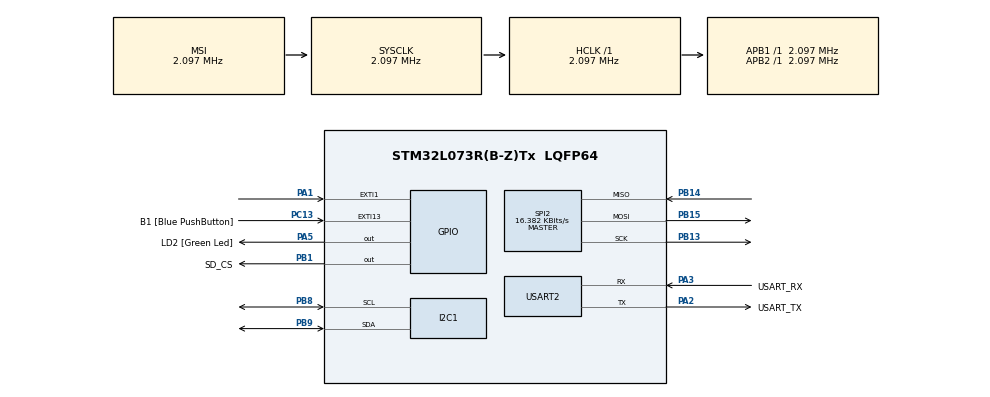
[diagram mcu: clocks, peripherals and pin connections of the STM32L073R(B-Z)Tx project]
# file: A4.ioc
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I2C1.Timing=0x00000608
Mcu.Family=STM32L0
Mcu.Name=STM32L073R(B-Z)Tx
Mcu.Package=LQFP64
NVIC.EXTI0_1_IRQn=true\:0\:0\:false\:false\:true\:true\:true\:true
PA1.GPIO_ModeDefaultEXTI=GPIO_MODE_IT_FALLING
PA1.Signal=GPXTI1
PA13.GPIO_Label=TMS
PA13.Mode=Serial_Wire
PA13.Signal=SYS_SWDIO
PA14.GPIO_Label=TCK
PA14.Mode=Serial_Wire
PA14.Signal=SYS_SWCLK
PA2.GPIO_Label=USART_TX
PA2.Mode=Asynchronous
PA2.Signal=USART2_TX
PA3.GPIO_Label=USART_RX
PA3.Mode=Asynchronous
PA3.Signal=USART2_RX
PA5.GPIO_Label=LD2 [Green Led]
PA5.Signal=GPIO_Output
PB1.GPIO_Label=SD_CS
PB1.Signal=GPIO_Output
PB13.Mode=Full_Duplex_Master
PB13.Signal=SPI2_SCK
PB14.Mode=Full_Duplex_Master
PB14.Signal=SPI2_MISO
PB15.Mode=Full_Duplex_Master
PB15.Signal=SPI2_MOSI
PB8.Mode=I2C
PB8.Signal=I2C1_SCL
PB9.Mode=I2C
PB9.Signal=I2C1_SDA
PC13.GPIO_Label=B1 [Blue PushButton]
PC13.GPIO_ModeDefaultEXTI=GPIO_MODE_IT_FALLING
PC13.Signal=GPXTI13
PC14-OSC32_IN.Mode=LSE-External-Oscillator
PC14-OSC32_IN.Signal=RCC_OSC32_IN
PC15-OSC32_OUT.Mode=LSE-External-Oscillator
PC15-OSC32_OUT.Signal=RCC_OSC32_OUT
PH0-OSC_IN.GPIO_Label=MCO
PH0-OSC_IN.Mode=HSE-External-Clock-Source
PH0-OSC_IN.Signal=RCC_OSC_IN
ProjectManager.HeapSize=0x200
ProjectManager.StackSize=0x400
ProjectManager.TargetToolchain=STM32CubeIDE
RCC.AHBFreq_Value=2097000
RCC.APB1Freq_Value=2097000
RCC.APB1TimFreq_Value=2097000
RCC.APB2Freq_Value=2097000
RCC.APB2TimFreq_Value=2097000
RCC.HSE_VALUE=8000000
RCC.HSI16_VALUE=16000000
RCC.HSI48_VALUE=48000000
RCC.HSI_VALUE=16000000
RCC.MSI_VALUE=2097000
RCC.SYSCLKFreq_VALUE=2097000
RCC.VCOOutputFreq_Value=48000000
SPI2.BaudRatePrescaler=SPI_BAUDRATEPRESCALER_128
SPI2.CalculateBaudRate=16.382 KBits/s
SPI2.Direction=SPI_DIRECTION_2LINES
SPI2.Mode=SPI_MODE_MASTER
SPI2.VirtualType=VM_MASTER
USART2.VirtualMode-Asynchronous=VM_ASYNC
VP_FATFS_VS_Generic.Mode=User_defined
board=NUCLEO-L073RZ

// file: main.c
/* USER CODE BEGIN Header */
/**
  ******************************************************************************
  * @file           : main.c
  * @brief          : Main program body
  ******************************************************************************
  * @attention
  *
  * Copyright (c) 2024 STMicroelectronics.
  * All rights reserved.
  *
  * This software is licensed under terms that can be found in the LICENSE file
  * in the root directory of this software component.
  * If no LICENSE file comes with this software, it is provided AS-IS.
  *
  ******************************************************************************
  */
/* USER CODE END Header */
#include "main.h"
#include "fatfs.h"

/* USER CODE BEGIN Includes */
#include <stdio.h>
#include <string.h>
#include <stdarg.h> //for va_list var arg functions
#include <stdbool.h>
#include "filter.h"
#include "new_funcs.h"
/* USER CODE END Includes */

/* USER CODE BEGIN PD */
const float rThreshold = 0.7;

const float kLowPassCutoff = 5.0;   // 5 hz
const float kHighPassCutoff = 0.5;  // 0.5 hz
const float kSamplingFrequency = 400.0;
const float kEdgeThreshold = -2000.0;

const unsigned long kFingerThreshold = 10000;
const unsigned int kFingerCooldownMs = 500;

const float decayRate = 0.02;
const float thrRate = 0.05;
const int minDiff = 50;
const uint32_t fingerThreshold = 10000;  // threshold for detecting a finger on the sensor

float maxValue = 0;
float minValue = 0;
float threshold = 0;
long lastHeartbeat = 0;
float lastValue = 0;
int fingerDetected = 0;  // variable to track whether the finger is detected

float last_diff = NAN;
bool crossed = false;
long crossed_time = 0;
/* variables */
LowPassFilter low_pass_filter_red;
LowPassFilter low_pass_filter_ir;
HighPassFilter high_pass_filter;
LowPassFilter low_pass_filter;
Differentiator differentiator;
MovingAverageFilter moving_avg_filter;
MovingAverageFilter moving_avg_bpm;
MovingAverageFilter moving_avg_spo2;
/* statistic Variables */
MinMaxAvgStatistic stat_red;
MinMaxAvgStatistic stat_ir;

/* finger Detection */
long finger_timestamp = 0;
bool finger_detected = false;

/* mode */
#define	TEMPERATURE 1
#define HEARTRATE_SPO2 2

/* USER CODE END PD */

I2C_HandleTypeDef hi2c1;

SPI_HandleTypeDef hspi2;

UART_HandleTypeDef huart2;

/* USER CODE BEGIN PV */
// interrupt callback for PA1 external interrupt
void HAL_GPIO_EXTI_Callback(uint16_t GPIO_Pin) {
    if (GPIO_Pin == GPIO_PIN_1) {  // check if PA1 triggered the interrupt
    	// Debug message to check if interrupt is being triggered
    	__HAL_GPIO_EXTI_CLEAR_FLAG(GPIO_PIN_1);

    	        char debugMsg[] = "Interrupt Triggered!\r\n";
    	        HAL_UART_Transmit(&huart2, (uint8_t*)debugMsg, strlen(debugMsg), HAL_MAX_DELAY);

        uint8_t intStatus = 0;
        HAL_I2C_Mem_Read(&hi2c1, MAX30102_ADDRESS << 1, MAX30105_INTSTAT2, I2C_MEMADD_SIZE_8BIT, &intStatus, 1, HAL_MAX_DELAY);

        if (intStatus & MAX30105_INT_DIE_TEMP_RDY_ENABLE) {  // if temperature ready
            float temperature = MAX30102_ReadTemperature(&hi2c1);  // read temperature
            char uartBuf[100];
            sprintf(uartBuf, "Temperature: %.2f°C\r\n", temperature);
            HAL_UART_Transmit(&huart2, (uint8_t*)uartBuf, strlen(uartBuf), HAL_MAX_DELAY);
        }

    }
}
/* USER CODE END PV */

void SystemClock_Config(void);
static void MX_GPIO_Init(void);
static void MX_USART2_UART_Init(void);
static void MX_SPI2_Init(void);
static void MX_I2C1_Init(void);
/* USER CODE BEGIN PFP */
void myprintf(const char *fmt, ...);
/* USER CODE END PFP */

/* USER CODE BEGIN 0 */
void myprintf(const char *fmt, ...) {
  static char buffer[256];
  va_list args;
  va_start(args, fmt);
  vsnprintf(buffer, sizeof(buffer), fmt, args);
  va_end(args);

  int len = strlen(buffer);
  HAL_UART_Transmit(&huart2, (uint8_t*)buffer, len, -1);

}

// measurement functions
void measure_temperature(char* uartBuf) {
	// Measuring Temperature through interrupts
	  sprintf(uartBuf, "Waiting for Temperature.......\r\n");
	  HAL_UART_Transmit(&huart2, (uint8_t*)uartBuf, strlen(uartBuf), HAL_MAX_DELAY);

	 MAX30102_StartTemperatureMeasurement(&hi2c1);

	 HAL_Delay(1000);
}

void heart_rate_measurement(int current_value_red, int current_value_ir, char* uartBuf, FIL* fil) {
	// Apply Filters to Red and IR signals
	  current_value_red = LowPassFilter_Process(&low_pass_filter_red, current_value_red);
	  current_value_ir = LowPassFilter_Process(&low_pass_filter_ir, current_value_ir);

	  // Update statistics for both Red and IR signals
	  MinMaxAvgStatistic_Process(&stat_red, current_value_red);
	  MinMaxAvgStatistic_Process(&stat_ir, current_value_ir);

	  // Apply High Pass Filter for heartbeat detection on the Red LED
	  float current_value = HighPassFilter_Process(&high_pass_filter, current_value_red);
	  float current_diff = Differentiator_Process(&differentiator, current_value);

	  if (!isnan(current_diff) && !isnan(last_diff)) {
		  // Detect heartbeat via zero-crossing
		  if (last_diff > 0 && current_diff < 0) {
			  crossed = true;
			  crossed_time = HAL_GetTick();
		  }

		  if (crossed && current_diff < kEdgeThreshold) {
			  if (lastHeartbeat != 0 && crossed_time - lastHeartbeat > 300) {
				  // Calculate heart rate (BPM)
				  int bpm = 60000 / (crossed_time - lastHeartbeat);

				  // Calculate R-values for SpO2 calculation
				  float rred = (MinMaxAvgStatistic_Maximum(&stat_red) - MinMaxAvgStatistic_Minimum(&stat_red)) / MinMaxAvgStatistic_Average(&stat_red);
				  float rir = (MinMaxAvgStatistic_Maximum(&stat_ir) - MinMaxAvgStatistic_Minimum(&stat_ir)) / MinMaxAvgStatistic_Average(&stat_ir);
				  float spo2 = calculate_SpO2(rred, rir);

				  if (bpm > 5 && bpm < 250) {
					  int avg_bpm = MovingAverageFilter_Process(&moving_avg_bpm, bpm);
					  int avg_spo2 = MovingAverageFilter_Process(&moving_avg_spo2, spo2);

					  // Transmit Heart Rate and SpO2 values via UART
	//									  sprintf(uartBuf, "Heart Rate: %d bpm, SpO2: %.2f%%\r\n", avg_bpm, avg_spo2);
					  sprintf(uartBuf, "Heart Rate: %d bpm, SpO2: %.2f%%\r\n", avg_bpm, (double)avg_spo2);

					  HAL_UART_Transmit(&huart2, (uint8_t*)uartBuf, strlen(uartBuf), HAL_MAX_DELAY);

					  //Now let's try and write a file "write.txt"
						FRESULT fres = f_open(fil, "write.txt", FA_WRITE | FA_OPEN_APPEND);
						if(fres == FR_OK) {
						myprintf("I was able to open 'write.txt' for measurements\r\n");
						} else {
						myprintf("f_open error (%i)\r\n", fres);
						}

						UINT bytesWrote;
						fres = f_write(fil, uartBuf, strlen(uartBuf), &bytesWrote);
						if(fres == FR_OK) {
						myprintf("Wrote %i bytes to 'write.txt'!\r\n", bytesWrote);
						} else {
						myprintf("f_write error (%i)\r\n");
						}

						//Be a tidy kiwi - don't forget to close your file!
						f_close(fil);
				  }
			  }
			  crossed = false;
			  lastHeartbeat = crossed_time;
		  }
	  }
	  last_diff = current_diff;
}
/* USER CODE END 0 */

int main(void)
{

  /* MCU Configuration--------------------------------------------------------*/

  /* Reset of all peripherals, Initializes the Flash interface and the Systick. */
  HAL_Init();

  /* Configure the system clock */
  SystemClock_Config();

  /* Initialize all configured peripherals */
  MX_GPIO_Init();
  MX_USART2_UART_Init();
  MX_SPI2_Init();
  MX_FATFS_Init();
  MX_I2C1_Init();
  /* USER CODE BEGIN 2 */
  uint32_t redLED, irLED;
// Initialize the MAX30102 sensor
	MAX30102_Init(&hi2c1);
		  // Initialize Filters
	initialize_filters();

	// enable the temperature interrupt on MAX30102
	MAX30102_EnableTemperatureInterrupt(&hi2c1,&huart2);
  	char uartBuf[100];  // buffer for  messages
//  	for(int i=0; i<100; i++) uartBuf[i] = '';

  //	int mode = TEMPERATURE;
  	int mode = HEARTRATE_SPO2;

  	// SD Card funtionality
  myprintf("\r\n~ SD card demo by kiwih ~\r\n\r\n");

  HAL_Delay(1000); //a short delay is important to let the SD card settle

  //some variables for FatFs
  FATFS FatFs; 	//Fatfs handle
  FIL fil; 		//File handle
  FRESULT fres; //Result after operations

  //Open the file system
  fres = f_mount(&FatFs, "", 1); //1=mount now
  if (fres != FR_OK) {
	myprintf("f_mount error (%i)\r\n", fres);
	while(1);
  }

  //Let's get some statistics from the SD card
  DWORD free_clusters, free_sectors, total_sectors;

  FATFS* getFreeFs;

  fres = f_getfree("", &free_clusters, &getFreeFs);
  if (fres != FR_OK) {
	myprintf("f_getfree error (%i)\r\n", fres);
	while(1);
  }

  //Formula comes from ChaN's documentation
  total_sectors = (getFreeFs->n_fatent - 2) * getFreeFs->csize;
  free_sectors = free_clusters * getFreeFs->csize;

  myprintf("SD card stats:\r\n%10lu KiB total drive space.\r\n%10lu KiB available.\r\n", total_sectors / 2, free_sectors / 2);

  //Now let's try to open file "test.txt"
  fres = f_open(&fil, "test.txt", FA_READ);
  if (fres != FR_OK) {
	myprintf("f_open error (%i)\r\n");
	while(1);
  }
  myprintf("I was able to open 'test.txt' for reading!\r\n");

  //Read 30 bytes from "test.txt" on the SD card
  BYTE readBuf[30];

  //We can either use f_read OR f_gets to get data out of files
  //f_gets is a wrapper on f_read that does some string formatting for us
  TCHAR* rres = f_gets((TCHAR*)readBuf, 30, &fil);
  if(rres != 0) {
	myprintf("Read string from 'test.txt' contents: %s\r\n", readBuf);
  } else {
	myprintf("f_gets error (%i)\r\n", fres);
  }

  //Be a tidy kiwi - don't forget to close your file!
  f_close(&fil);

  //Now let's try and write a file "write.txt"
  fres = f_open(&fil, "write.txt", FA_WRITE | FA_OPEN_ALWAYS | FA_CREATE_ALWAYS);
  if(fres == FR_OK) {
	myprintf("I was able to open 'write.txt' for writing\r\n");
  } else {
	myprintf("f_open error (%i)\r\n", fres);
  }

  //Copy in a string
  strncpy((char*)readBuf, "a new file is made!\r\n", strlen("a new file is made!\r\n"));
  UINT bytesWrote;
  fres = f_write(&fil, readBuf, 19, &bytesWrote);
  if(fres == FR_OK) {
	myprintf("Wrote %i bytes to 'write.txt'!\r\n", bytesWrote);
  } else {
	myprintf("f_write error (%i)\r\n");
  }

  //Be a tidy kiwi - don't forget to close your file!
  f_close(&fil);

//  //We're done, so de-mount the drive
//  f_mount(NULL, "", 0);
  /* USER CODE END 2 */

  /* Infinite loop */
  while (1)
  {

    /* USER CODE BEGIN 3 */
	  if(mode == TEMPERATURE) {
		  measure_temperature(uartBuf);
	  } else if(mode == HEARTRATE_SPO2){
  //			uint32_t start_time = HAL_GetTick();
			MAX30102_ReadRawData(&redLED, &irLED,&hi2c1,&huart2);
			float current_value_red = (float)redLED;
			float current_value_ir = (float)irLED;

			// Check if a finger is detected
		  // Detect Finger using the Red LED value
		  if (current_value_red > kFingerThreshold) {
			  if (HAL_GetTick() - finger_timestamp > kFingerCooldownMs) {
				  finger_detected = true;
			  }
		  } else {
			  // Reset all values if the finger is removed
			  if (finger_detected && (HAL_GetTick() - finger_timestamp > 1000)) {
				  Differentiator_Reset(&differentiator);
				  MovingAverageFilter_Reset(&moving_avg_bpm);
				  MovingAverageFilter_Reset(&moving_avg_spo2);
				  LowPassFilter_Reset(&low_pass_filter_red);
				  LowPassFilter_Reset(&low_pass_filter_ir);
				  HighPassFilter_Reset(&high_pass_filter);
				  MinMaxAvgStatistic_Reset(&stat_red);
				  MinMaxAvgStatistic_Reset(&stat_ir);

				  finger_detected = false;
				  finger_timestamp = HAL_GetTick();
			  }
		  }

		  if (finger_detected) {
			  heart_rate_measurement(current_value_red, current_value_ir, uartBuf, &fil);
		  }
	  }
  }
  /* USER CODE END 3 */
}

void SystemClock_Config(void)
{
  RCC_OscInitTypeDef RCC_OscInitStruct = {0};
  RCC_ClkInitTypeDef RCC_ClkInitStruct = {0};
  RCC_PeriphCLKInitTypeDef PeriphClkInit = {0};

  /** Configure the main internal regulator output voltage
  */
  __HAL_PWR_VOLTAGESCALING_CONFIG(PWR_REGULATOR_VOLTAGE_SCALE1);

  /** Initializes the RCC Oscillators according to the specified parameters
  * in the RCC_OscInitTypeDef structure.
  */
  RCC_OscInitStruct.OscillatorType = RCC_OSCILLATORTYPE_MSI;
  RCC_OscInitStruct.MSIState = RCC_MSI_ON;
  RCC_OscInitStruct.MSICalibrationValue = 0;
  RCC_OscInitStruct.MSIClockRange = RCC_MSIRANGE_5;
  RCC_OscInitStruct.PLL.PLLState = RCC_PLL_NONE;
  if (HAL_RCC_OscConfig(&RCC_OscInitStruct) != HAL_OK)
  {
    Error_Handler();
  }

  /** Initializes the CPU, AHB and APB buses clocks
  */
  RCC_ClkInitStruct.ClockType = RCC_CLOCKTYPE_HCLK|RCC_CLOCKTYPE_SYSCLK
                              |RCC_CLOCKTYPE_PCLK1|RCC_CLOCKTYPE_PCLK2;
  RCC_ClkInitStruct.SYSCLKSource = RCC_SYSCLKSOURCE_MSI;
  RCC_ClkInitStruct.AHBCLKDivider = RCC_SYSCLK_DIV1;
  RCC_ClkInitStruct.APB1CLKDivider = RCC_HCLK_DIV1;
  RCC_ClkInitStruct.APB2CLKDivider = RCC_HCLK_DIV1;

  if (HAL_RCC_ClockConfig(&RCC_ClkInitStruct, FLASH_LATENCY_0) != HAL_OK)
  {
    Error_Handler();
  }
  PeriphClkInit.PeriphClockSelection = RCC_PERIPHCLK_USART2|RCC_PERIPHCLK_I2C1;
  PeriphClkInit.Usart2ClockSelection = RCC_USART2CLKSOURCE_PCLK1;
  PeriphClkInit.I2c1ClockSelection = RCC_I2C1CLKSOURCE_PCLK1;
  if (HAL_RCCEx_PeriphCLKConfig(&PeriphClkInit) != HAL_OK)
  {
    Error_Handler();
  }
}

static void MX_I2C1_Init(void)
{

  hi2c1.Instance = I2C1;
  hi2c1.Init.Timing = 0x00000608;
  hi2c1.Init.OwnAddress1 = 0;
  hi2c1.Init.AddressingMode = I2C_ADDRESSINGMODE_7BIT;
  hi2c1.Init.DualAddressMode = I2C_DUALADDRESS_DISABLE;
  hi2c1.Init.OwnAddress2 = 0;
  hi2c1.Init.OwnAddress2Masks = I2C_OA2_NOMASK;
  hi2c1.Init.GeneralCallMode = I2C_GENERALCALL_DISABLE;
  hi2c1.Init.NoStretchMode = I2C_NOSTRETCH_DISABLE;
  if (HAL_I2C_Init(&hi2c1) != HAL_OK)
  {
    Error_Handler();
  }

  /** Configure Analogue filter
  */
  if (HAL_I2CEx_ConfigAnalogFilter(&hi2c1, I2C_ANALOGFILTER_ENABLE) != HAL_OK)
  {
    Error_Handler();
  }

  /** Configure Digital filter
  */
  if (HAL_I2CEx_ConfigDigitalFilter(&hi2c1, 0) != HAL_OK)
  {
    Error_Handler();
  }

}

static void MX_SPI2_Init(void)
{

  /* SPI2 parameter configuration*/
  hspi2.Instance = SPI2;
  hspi2.Init.Mode = SPI_MODE_MASTER;
  hspi2.Init.Direction = SPI_DIRECTION_2LINES;
  hspi2.Init.DataSize = SPI_DATASIZE_8BIT;
  hspi2.Init.CLKPolarity = SPI_POLARITY_LOW;
  hspi2.Init.CLKPhase = SPI_PHASE_1EDGE;
  hspi2.Init.NSS = SPI_NSS_SOFT;
  hspi2.Init.BaudRatePrescaler = SPI_BAUDRATEPRESCALER_128;
  hspi2.Init.FirstBit = SPI_FIRSTBIT_MSB;
  hspi2.Init.TIMode = SPI_TIMODE_DISABLE;
  hspi2.Init.CRCCalculation = SPI_CRCCALCULATION_DISABLE;
  hspi2.Init.CRCPolynomial = 7;
  if (HAL_SPI_Init(&hspi2) != HAL_OK)
  {
    Error_Handler();
  }

}

static void MX_USART2_UART_Init(void)
{

  huart2.Instance = USART2;
  huart2.Init.BaudRate = 115200;
  huart2.Init.WordLength = UART_WORDLENGTH_8B;
  huart2.Init.StopBits = UART_STOPBITS_1;
  huart2.Init.Parity = UART_PARITY_NONE;
  huart2.Init.Mode = UART_MODE_TX_RX;
  huart2.Init.HwFlowCtl = UART_HWCONTROL_NONE;
  huart2.Init.OverSampling = UART_OVERSAMPLING_16;
  huart2.Init.OneBitSampling = UART_ONE_BIT_SAMPLE_DISABLE;
  huart2.AdvancedInit.AdvFeatureInit = UART_ADVFEATURE_NO_INIT;
  if (HAL_UART_Init(&huart2) != HAL_OK)
  {
    Error_Handler();
  }

}

static void MX_GPIO_Init(void)
{
  GPIO_InitTypeDef GPIO_InitStruct = {0};

  /* GPIO Ports Clock Enable */
  __HAL_RCC_GPIOC_CLK_ENABLE();
  __HAL_RCC_GPIOH_CLK_ENABLE();
  __HAL_RCC_GPIOA_CLK_ENABLE();
  __HAL_RCC_GPIOB_CLK_ENABLE();

  /*Configure GPIO pin Output Level */
  HAL_GPIO_WritePin(LD2_GPIO_Port, LD2_Pin, GPIO_PIN_RESET);

  /*Configure GPIO pin Output Level */
  HAL_GPIO_WritePin(SD_CS_GPIO_Port, SD_CS_Pin, GPIO_PIN_RESET);

  /*Configure GPIO pin : B1_Pin */
  GPIO_InitStruct.Pin = B1_Pin;
  GPIO_InitStruct.Mode = GPIO_MODE_IT_FALLING;
  GPIO_InitStruct.Pull = GPIO_NOPULL;
  HAL_GPIO_Init(B1_GPIO_Port, &GPIO_InitStruct);

  /*Configure GPIO pin : PA1 */
  GPIO_InitStruct.Pin = GPIO_PIN_1;
  GPIO_InitStruct.Mode = GPIO_MODE_IT_FALLING;
  GPIO_InitStruct.Pull = GPIO_NOPULL;
  HAL_GPIO_Init(GPIOA, &GPIO_InitStruct);

  /*Configure GPIO pin : LD2_Pin */
  GPIO_InitStruct.Pin = LD2_Pin;
  GPIO_InitStruct.Mode = GPIO_MODE_OUTPUT_PP;
  GPIO_InitStruct.Pull = GPIO_NOPULL;
  GPIO_InitStruct.Speed = GPIO_SPEED_FREQ_LOW;
  HAL_GPIO_Init(LD2_GPIO_Port, &GPIO_InitStruct);

  /*Configure GPIO pin : SD_CS_Pin */
  GPIO_InitStruct.Pin = SD_CS_Pin;
  GPIO_InitStruct.Mode = GPIO_MODE_OUTPUT_PP;
  GPIO_InitStruct.Pull = GPIO_NOPULL;
  GPIO_InitStruct.Speed = GPIO_SPEED_FREQ_LOW;
  HAL_GPIO_Init(SD_CS_GPIO_Port, &GPIO_InitStruct);

  /* EXTI interrupt init*/
  HAL_NVIC_SetPriority(EXTI0_1_IRQn, 0, 0);
  HAL_NVIC_EnableIRQ(EXTI0_1_IRQn);

}

void Error_Handler(void)
{
  __disable_irq();
  while (1)
  {
  }
}
